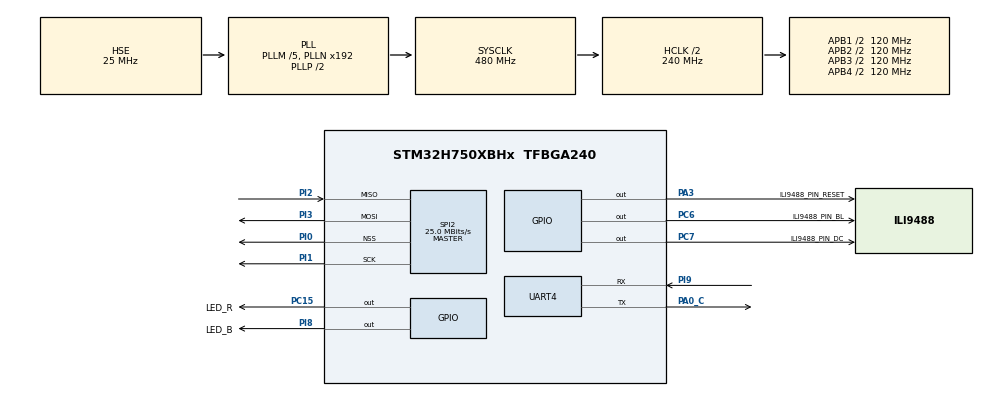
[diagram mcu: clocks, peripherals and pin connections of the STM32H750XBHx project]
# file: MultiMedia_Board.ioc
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CORTEX_M7.AccessPermission_S-Cortex_Memory_Protection_Unit_Region1_Settings_S=MPU_REGION_FULL_ACCESS
CORTEX_M7.AccessPermission_S-Cortex_Memory_Protection_Unit_Region2_Settings_S=MPU_REGION_FULL_ACCESS
CORTEX_M7.AccessPermission_S-Cortex_Memory_Protection_Unit_Region3_Settings_S=MPU_REGION_FULL_ACCESS
CORTEX_M7.AccessPermission_S-Cortex_Memory_Protection_Unit_Region4_Settings_S=MPU_REGION_FULL_ACCESS
CORTEX_M7.AccessPermission_Spec=MPU_REGION_FULL_ACCESS
CORTEX_M7.BaseAddress_S-Cortex_Memory_Protection_Unit_Region1_Settings_S=0x90000000
CORTEX_M7.BaseAddress_S-Cortex_Memory_Protection_Unit_Region2_Settings_S=0x24000000
CORTEX_M7.BaseAddress_S-Cortex_Memory_Protection_Unit_Region3_Settings_S=0x60000000
CORTEX_M7.BaseAddress_S-Cortex_Memory_Protection_Unit_Region4_Settings_S=0xC0000000
CORTEX_M7.CPU_DCache=Enabled
CORTEX_M7.CPU_ICache=Enabled
CORTEX_M7.Enable_S-Cortex_Memory_Protection_Unit_Region1_Settings_S=MPU_REGION_ENABLE
CORTEX_M7.Enable_S-Cortex_Memory_Protection_Unit_Region2_Settings_S=MPU_REGION_ENABLE
CORTEX_M7.Enable_S-Cortex_Memory_Protection_Unit_Region3_Settings_S=MPU_REGION_ENABLE
CORTEX_M7.Enable_S-Cortex_Memory_Protection_Unit_Region4_Settings_S=MPU_REGION_ENABLE
CORTEX_M7.IsBufferable_S-Cortex_Memory_Protection_Unit_Region1_Settings_S=MPU_ACCESS_BUFFERABLE
CORTEX_M7.IsBufferable_S-Cortex_Memory_Protection_Unit_Region2_Settings_S=MPU_ACCESS_NOT_BUFFERABLE
CORTEX_M7.IsBufferable_S-Cortex_Memory_Protection_Unit_Region3_Settings_S=MPU_ACCESS_BUFFERABLE
CORTEX_M7.IsBufferable_S-Cortex_Memory_Protection_Unit_Region4_Settings_S=MPU_ACCESS_BUFFERABLE
CORTEX_M7.IsCacheable_S-Cortex_Memory_Protection_Unit_Region1_Settings_S=MPU_ACCESS_CACHEABLE
CORTEX_M7.IsCacheable_S-Cortex_Memory_Protection_Unit_Region4_Settings_S=MPU_ACCESS_CACHEABLE
CORTEX_M7.IsShareable_Spec=MPU_ACCESS_NOT_SHAREABLE
CORTEX_M7.MPU_Control=__NULL
CORTEX_M7.Size_S-Cortex_Memory_Protection_Unit_Region1_Settings_S=MPU_REGION_SIZE_256MB
CORTEX_M7.Size_S-Cortex_Memory_Protection_Unit_Region2_Settings_S=MPU_REGION_SIZE_512KB
CORTEX_M7.Size_S-Cortex_Memory_Protection_Unit_Region3_Settings_S=MPU_REGION_SIZE_64KB
CORTEX_M7.Size_S-Cortex_Memory_Protection_Unit_Region4_Settings_S=MPU_REGION_SIZE_32MB
CORTEX_M7.TypeExtField_S-Cortex_Memory_Protection_Unit_Region1_Settings_S=MPU_TEX_LEVEL1
CORTEX_M7.TypeExtField_S-Cortex_Memory_Protection_Unit_Region2_Settings_S=MPU_TEX_LEVEL1
CORTEX_M7.TypeExtField_S-Cortex_Memory_Protection_Unit_Region3_Settings_S=MPU_TEX_LEVEL0
CORTEX_M7.TypeExtField_S-Cortex_Memory_Protection_Unit_Region4_Settings_S=MPU_TEX_LEVEL1
CORTEX_M7.default_mode_Activation=1
Dma.Request0=SPI2_TX
Dma.SPI2_TX.0.Direction=DMA_MEMORY_TO_PERIPH
Dma.SPI2_TX.0.EventEnable=DISABLE
Dma.SPI2_TX.0.FIFOMode=DMA_FIFOMODE_DISABLE
Dma.SPI2_TX.0.Instance=DMA1_Stream0
Dma.SPI2_TX.0.MemDataAlignment=DMA_MDATAALIGN_BYTE
Dma.SPI2_TX.0.MemInc=DMA_MINC_ENABLE
Dma.SPI2_TX.0.Mode=DMA_NORMAL
Dma.SPI2_TX.0.PeriphDataAlignment=DMA_PDATAALIGN_BYTE
Dma.SPI2_TX.0.PeriphInc=DMA_PINC_DISABLE
Dma.SPI2_TX.0.Polarity=HAL_DMAMUX_REQ_GEN_RISING
Dma.SPI2_TX.0.Priority=DMA_PRIORITY_LOW
Dma.SPI2_TX.0.RequestNumber=1
Dma.SPI2_TX.0.SignalID=NONE
Dma.SPI2_TX.0.SyncEnable=DISABLE
Dma.SPI2_TX.0.SyncPolarity=HAL_DMAMUX_SYNC_NO_EVENT
Dma.SPI2_TX.0.SyncRequestNumber=1
Dma.SPI2_TX.0.SyncSignalID=NONE
Mcu.Family=STM32H7
Mcu.Name=STM32H750XBHx
Mcu.Package=TFBGA240
NVIC.DMA1_Stream0_IRQn=true\:1\:0\:true\:false\:true\:false\:false\:true\:true
NVIC.PriorityGroup=NVIC_PRIORITYGROUP_4
NVIC.SPI2_IRQn=true\:2\:0\:true\:false\:true\:false\:false\:true\:true
NVIC.TIM6_DAC_IRQn=true\:15\:0\:false\:false\:true\:false\:false\:true\:true
NVIC.TimeBase=TIM6_DAC_IRQn
NVIC.TimeBaseIP=TIM6
PA0_C.Mode=Asynchronous
PA0_C.Signal=UART4_TX
PA3.GPIO_Label=ILI9488_PIN_RESET
PA3.GPIO_Speed=GPIO_SPEED_FREQ_VERY_HIGH
PA3.PinState=GPIO_PIN_SET
PA3.Signal=GPIO_Output
PC14-OSC32_IN\ (OSC32_IN).Mode=LSE-External-Clock-Source
PC14-OSC32_IN\ (OSC32_IN).Signal=RCC_OSC32_IN
PC15-OSC32_OUT\ (OSC32_OUT).GPIO_Label=LED_R
PC15-OSC32_OUT\ (OSC32_OUT).PinState=GPIO_PIN_SET
PC15-OSC32_OUT\ (OSC32_OUT).Signal=GPIO_Output
PC6.GPIO_Label=ILI9488_PIN_BL
PC6.GPIO_Speed=GPIO_SPEED_FREQ_VERY_HIGH
PC6.PinState=GPIO_PIN_SET
PC6.Signal=GPIO_Output
PC7.GPIO_Label=ILI9488_PIN_DC
PC7.GPIO_Speed=GPIO_SPEED_FREQ_VERY_HIGH
PC7.PinState=GPIO_PIN_SET
PC7.Signal=GPIO_Output
PH0-OSC_IN\ (PH0).Mode=HSE-External-Oscillator
PH0-OSC_IN\ (PH0).Signal=RCC_OSC_IN
PH1-OSC_OUT\ (PH1).Mode=HSE-External-Oscillator
PH1-OSC_OUT\ (PH1).Signal=RCC_OSC_OUT
PI0.GPIO_Speed=GPIO_SPEED_FREQ_VERY_HIGH
PI0.Mode=NSS_Signal_Hard_Output
PI0.Signal=SPI2_NSS
PI1.GPIO_Speed=GPIO_SPEED_FREQ_VERY_HIGH
PI1.Mode=Full_Duplex_Master
PI1.Signal=SPI2_SCK
PI2.GPIO_Speed=GPIO_SPEED_FREQ_VERY_HIGH
PI2.Mode=Full_Duplex_Master
PI2.Signal=SPI2_MISO
PI3.GPIO_Speed=GPIO_SPEED_FREQ_VERY_HIGH
PI3.Mode=Full_Duplex_Master
PI3.Signal=SPI2_MOSI
PI8.GPIO_Label=LED_B
PI8.PinState=GPIO_PIN_SET
PI8.Signal=GPIO_Output
PI9.Mode=Asynchronous
PI9.Signal=UART4_RX
ProjectManager.HeapSize=0x1000
ProjectManager.StackSize=0x1000
ProjectManager.TargetToolchain=MDK-ARM V5.32
RCC.ADCFreq_Value=300000000
RCC.APB1Freq_Value=120000000
RCC.APB2Freq_Value=120000000
RCC.APB3Freq_Value=120000000
RCC.APB4Freq_Value=120000000
RCC.CortexFreq_Value=480000000
RCC.D1PPRE=RCC_APB3_DIV2
RCC.D2PPRE1=RCC_APB1_DIV2
RCC.D2PPRE2=RCC_APB2_DIV2
RCC.D3PPRE=RCC_APB4_DIV2
RCC.DIVM1=5
RCC.DIVM2=5
RCC.DIVM3=5
RCC.DIVN1=192
RCC.DIVN2=120
RCC.DIVN3=80
RCC.DIVQ1=5
RCC.FMCCLockSelection=RCC_FMCCLKSOURCE_PLL2
RCC.HCLKFreq_Value=240000000
RCC.HPRE=RCC_HCLK_DIV2
RCC.PLL1_VCO_SEL-AdvancedSettings=RCC_PLL1VCOMEDIUM
RCC.PLL2_VCI_Range-AdvancedSettings=RCC_PLL2VCIRANGE_1
RCC.PLLSourceVirtual=RCC_PLLSOURCE_HSE
RCC.PWR_Regulator_Voltage_Scale=PWR_REGULATOR_VOLTAGE_SCALE0
RCC.ProductRev=revV
RCC.SPI123CLockSelection=RCC_SPI123CLKSOURCE_PLL3
RCC.SYSCLKFreq_VALUE=480000000
RCC.SYSCLKSource=RCC_SYSCLKSOURCE_PLLCLK
RCC.USBFreq_Value=192000000
SPI2.BaudRatePrescaler=SPI_BAUDRATEPRESCALER_8
SPI2.CLKPhase=SPI_PHASE_1EDGE
SPI2.CLKPolarity=SPI_POLARITY_LOW
SPI2.CalculateBaudRate=25.0 MBits/s
SPI2.DataSize=SPI_DATASIZE_8BIT
SPI2.Direction=SPI_DIRECTION_2LINES
SPI2.MasterInterDataIdleness=SPI_MASTER_INTERDATA_IDLENESS_00CYCLE
SPI2.MasterKeepIOState=SPI_MASTER_KEEP_IO_STATE_ENABLE
SPI2.MasterSSIdleness=SPI_MASTER_SS_IDLENESS_00CYCLE
SPI2.Mode=SPI_MODE_MASTER
SPI2.NSSPMode=SPI_NSS_PULSE_DISABLE
SPI2.TIMode=SPI_TIMODE_DISABLE
SPI2.VirtualNSS=VM_NSSHARD
SPI2.VirtualType=VM_MASTER
STMicroelectronics.X-CUBE-AZRTOS-H7.3.1.0.ALIGN_TYPE_DEFINED=0
STMicroelectronics.X-CUBE-AZRTOS-H7.3.1.0.AZRTOS_APP_MEM_ALLOCATION_METHOD=1
STMicroelectronics.X-CUBE-AZRTOS-H7.3.1.0.TX_APP_CREATION=1
STMicroelectronics.X-CUBE-AZRTOS-H7.3.1.0.TX_APP_GENERATE_INIT_CODE=true
STMicroelectronics.X-CUBE-AZRTOS-H7.3.1.0.TX_APP_MEM_POOL_SIZE=4096
STMicroelectronics.X-CUBE-AZRTOS-H7.3.1.0.TX_APP_MUTEX_CREATION=0
STMicroelectronics.X-CUBE-AZRTOS-H7.3.1.0.TX_APP_SEM_CREATION=1
STMicroelectronics.X-CUBE-AZRTOS-H7.3.1.0.TX_APP_STACK_SIZE=2048
STMicroelectronics.X-CUBE-AZRTOS-H7.3.1.0.TX_ENABLE_EVENT_TRACE=0
STMicroelectronics.X-CUBE-AZRTOS-H7.3.1.0.TX_ENABLE_STACK_CHECKING=1
STMicroelectronics.X-CUBE-AZRTOS-H7.3.1.0.TX_MINIMUM_STACK=1024
STMicroelectronics.X-CUBE-AZRTOS-H7.3.1.0.TX_MUTEX_NAME=spi_tx
STMicroelectronics.X-CUBE-AZRTOS-H7.3.1.0.TX_Mutex_INHERITANCE=TX_INHERIT
STMicroelectronics.X-CUBE-AZRTOS-H7.3.1.0.TX_SAFETY_CRITICAL=0
STMicroelectronics.X-CUBE-AZRTOS-H7.3.1.0.TX_SEMAPHORE_NAME=spi tx
STMicroelectronics.X-CUBE-AZRTOS-H7.3.1.0.TX_TIMER_TICKS_PER_SECOND=1000
STMicroelectronics.X-CUBE-AZRTOS-H7.3.1.0.ThreadXCcRTOSJjThreadXJjCore=true
STMicroelectronics.X-CUBE-AZRTOS-H7.3.1.0_IsAnAzureRtosMw=true
STMicroelectronics.X-CUBE-TOUCHGFX.4.21.4.tgfx_buffering_strategy=Double
STMicroelectronics.X-CUBE-TOUCHGFX.4.21.4.tgfx_custom_height=480
STMicroelectronics.X-CUBE-TOUCHGFX.4.21.4.tgfx_custom_width=320
STMicroelectronics.X-CUBE-TOUCHGFX.4.21.4.tgfx_datareader=Disabled
STMicroelectronics.X-CUBE-TOUCHGFX.4.21.4.tgfx_hardware_accelerator=dma_none
STMicroelectronics.X-CUBE-TOUCHGFX.4.21.4_IsPackSelfContextualization=true
VP_STMicroelectronics.X-CUBE-AZRTOS-H7_VS_RTOSJjThreadX_6.2.0_3.1.0.Mode=RTOSJjThreadX
VP_SYS_VS_tim6.Mode=TIM6
board=custom

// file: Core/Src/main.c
/* USER CODE BEGIN Header */
/**
  ******************************************************************************
  * @file           : main.c
  * @brief          : Main program body
  ******************************************************************************
  * @attention
  *
  * Copyright (c) 2023 STMicroelectronics.
  * All rights reserved.
  *
  * This software is licensed under terms that can be found in the LICENSE file
  * in the root directory of this software component.
  * If no LICENSE file comes with this software, it is provided AS-IS.
  *
  ******************************************************************************
  */
/* USER CODE END Header */
#include "app_threadx.h"
#include "main.h"
#include "dma.h"
#include "spi.h"
#include "usart.h"
#include "gpio.h"

/* USER CODE BEGIN Includes */
#include "EventRecorder.h"
#include "stdio.h"
/* USER CODE END Includes */

void SystemClock_Config(void);

/* USER CODE BEGIN 0 */
static void vtor_config(void)
{
    SCB->VTOR = QSPI_BASE;		// 重定位中断向量表

    /* clear all NVIC Enable and Pending registers */
    for(uint8_t i = 0; i < 8; i++)
    {
        NVIC->ICER[i] = 0xFFFFFFFF;
        NVIC->ICPR[i] = 0xFFFFFFFF;
    }

    __enable_irq();
    __set_PRIMASK(0);
}

/* USER CODE END 0 */

int main(void)
{
  /* USER CODE BEGIN 1 */
    vtor_config();
  /* USER CODE END 1 */

  /* Enable I-Cache---------------------------------------------------------*/
  SCB_EnableICache();

  /* Enable D-Cache---------------------------------------------------------*/
  SCB_EnableDCache();

  /* MCU Configuration--------------------------------------------------------*/

  /* Reset of all peripherals, Initializes the Flash interface and the Systick. */
  HAL_Init();

  /* Configure the system clock */
  SystemClock_Config();

  /* Initialize all configured peripherals */
  MX_GPIO_Init();
  MX_DMA_Init();
  MX_UART4_Init();
  MX_SPI2_Init();
  /* USER CODE BEGIN 2 */
    /* 	Note: 使用ThreadX, 不如直接用TraceX, 但暂时未配置好, 后续再改
     *	此外, 也可以考虑购买一下 H7-Tool, 起码不用添加代码
     */
#ifdef EventRecorder_ENABLE
    EventRecorderInitialize(EventRecordAll, 1U);
    EventRecorderStart();
#endif

  /* USER CODE END 2 */

  MX_ThreadX_Init();

  /* We should never get here as control is now taken by the scheduler */
  /* Infinite loop */
  /* USER CODE BEGIN WHILE */
    while (1)
    {
//		EventStartA(0); /* start time loss measurement */
//		HAL_Delay(1000);
//		LED_R_TOGGLE();
//		EventStopA(0); /* stop time loss measurement */
//		printf("Time Loss measurement over...\r\n");
//		HAL_Delay(1000);
    /* USER CODE END WHILE */

    }
}

void SystemClock_Config(void)
{
  RCC_OscInitTypeDef RCC_OscInitStruct = {0};
  RCC_ClkInitTypeDef RCC_ClkInitStruct = {0};

  /** Supply configuration update enable
  */
  HAL_PWREx_ConfigSupply(PWR_LDO_SUPPLY);

  /** Configure the main internal regulator output voltage
  */
  __HAL_PWR_VOLTAGESCALING_CONFIG(PWR_REGULATOR_VOLTAGE_SCALE1);

  while(!__HAL_PWR_GET_FLAG(PWR_FLAG_VOSRDY)) {}

  __HAL_RCC_SYSCFG_CLK_ENABLE();
  __HAL_PWR_VOLTAGESCALING_CONFIG(PWR_REGULATOR_VOLTAGE_SCALE0);

  while(!__HAL_PWR_GET_FLAG(PWR_FLAG_VOSRDY)) {}

  /** Initializes the RCC Oscillators according to the specified parameters
  * in the RCC_OscInitTypeDef structure.
  */
  RCC_OscInitStruct.OscillatorType = RCC_OSCILLATORTYPE_HSE;
  RCC_OscInitStruct.HSEState = RCC_HSE_ON;
  RCC_OscInitStruct.PLL.PLLState = RCC_PLL_ON;
  RCC_OscInitStruct.PLL.PLLSource = RCC_PLLSOURCE_HSE;
  RCC_OscInitStruct.PLL.PLLM = 5;
  RCC_OscInitStruct.PLL.PLLN = 192;
  RCC_OscInitStruct.PLL.PLLP = 2;
  RCC_OscInitStruct.PLL.PLLQ = 5;
  RCC_OscInitStruct.PLL.PLLR = 2;
  RCC_OscInitStruct.PLL.PLLRGE = RCC_PLL1VCIRANGE_2;
  RCC_OscInitStruct.PLL.PLLVCOSEL = RCC_PLL1VCOWIDE;
  RCC_OscInitStruct.PLL.PLLFRACN = 0;
  if (HAL_RCC_OscConfig(&RCC_OscInitStruct) != HAL_OK)
  {
    Error_Handler();
  }

  /** Initializes the CPU, AHB and APB buses clocks
  */
  RCC_ClkInitStruct.ClockType = RCC_CLOCKTYPE_HCLK|RCC_CLOCKTYPE_SYSCLK
                              |RCC_CLOCKTYPE_PCLK1|RCC_CLOCKTYPE_PCLK2
                              |RCC_CLOCKTYPE_D3PCLK1|RCC_CLOCKTYPE_D1PCLK1;
  RCC_ClkInitStruct.SYSCLKSource = RCC_SYSCLKSOURCE_PLLCLK;
  RCC_ClkInitStruct.SYSCLKDivider = RCC_SYSCLK_DIV1;
  RCC_ClkInitStruct.AHBCLKDivider = RCC_HCLK_DIV2;
  RCC_ClkInitStruct.APB3CLKDivider = RCC_APB3_DIV2;
  RCC_ClkInitStruct.APB1CLKDivider = RCC_APB1_DIV2;
  RCC_ClkInitStruct.APB2CLKDivider = RCC_APB2_DIV2;
  RCC_ClkInitStruct.APB4CLKDivider = RCC_APB4_DIV2;

  if (HAL_RCC_ClockConfig(&RCC_ClkInitStruct, FLASH_LATENCY_4) != HAL_OK)
  {
    Error_Handler();
  }
}

/* USER CODE BEGIN 4 */
/* ------------------通过重定向将printf函数映射到串口1上-------------------*/
#ifndef EventRecorder_ENABLE
#if !defined(__MICROLIB)

//#pragma import(__use_no_semihosting)
__asm (".global __use_no_semihosting\n\t");
void _sys_exit(int x) //避免使用半主机模式
{
    x = x;
}
//__use_no_semihosting was requested, but _ttywrch was
void _ttywrch(int ch)
{
    ch = ch;
}
//struct __FILE
//{
//  int handle;
//};
FILE __stdout;

#endif

#if defined ( __GNUC__ ) && !defined (__clang__)
#define PUTCHAR_PROTOTYPE int __io_putchar(int ch)
#else
#define PUTCHAR_PROTOTYPE int fputc(int ch, FILE *f)
#endif
PUTCHAR_PROTOTYPE
{
    /* 实现串口发送一个字节数据的函数 */
    HAL_UART_Transmit(&huart4, (uint8_t *)&ch, 1, 1000);
    return ch;
}
#endif
/* USER CODE END 4 */

void HAL_TIM_PeriodElapsedCallback(TIM_HandleTypeDef *htim)
{
  if (htim->Instance == TIM6) {
    HAL_IncTick();
  }
}

void Error_Handler(void)
{
    __disable_irq();
    while (1)
    {
    }
}
